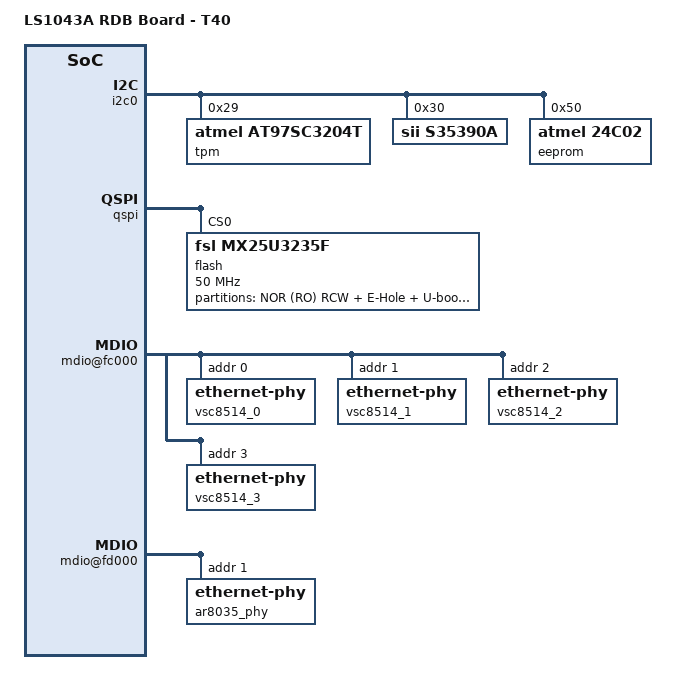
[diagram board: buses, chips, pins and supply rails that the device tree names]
#include "fsl-ls1043a-rdb-sdk.dts"

/ {
	model = "LS1043A RDB Board - T40";

	firmware {
		/delete-node/ optee;
	};
};

&i2c0 {
	/delete-node/ ina220@40;
	/delete-node/ adt7461a@4c;
	/delete-node/ eeprom@52;
	/delete-node/ eeprom@53;
	/delete-node/ rtc@68;
	/delete-node/ rtc@51;

	tpm@29 {
		compatible = "atmel,at97sc3204t";
		reg = <0x29>;
	};

	s35390a@30 {
		compatible = "sii,s35390a";
		reg = <0x30>;
	};

	eeprom@50 {
		compatible = "atmel,24c02";
		reg = <0x50>;
	};
};

&ifc {
	/delete-node/ nor@0,0;
	/delete-node/ nand@1,0;
};

/*
so far know layouts: Get rid of me later
T40 layout
dev:    size   erasesize  name
mtd0: 00100000 00001000 "rcw"
mtd1: 00100000 00001000 "u-boot"
mtd2: 00100000 00001000 "env"
mtd3: 00100000 00001000 "fman"
T80 layout
dev:    size   erasesize  name
mtd0: 00100000 00001000 "rcw"
mtd1: 00200000 00001000 "u-boot"
mtd2: 00040000 00001000 "env"
mtd3: 00040000 00001000 "reserved"
mtd4: 00040000 00001000 "fman"
mtd5: 00040000 00001000 "ppa"
*/

&qspi {
        bus-num = <0>;
        status = "okay";

        flash@0 {
                compatible = "fsl,mx25u3235f", "jedec,spi-nor";
                #address-cells = <1>;
                #size-cells = <1>;
                spi-max-frequency = <50000000>;
                reg = <0>;
                linux,modalias = "fsl_m25p80";
                modal = "mx25u3235f";
                spi-rx-bus-width = <4>;
                spi-tx-bus-width = <4>;
                mode = <0>;
                /*LSDK-KC-REV1812 p141:
		 * This layout is try of T40, maybe T20.
		  And is trying to to complaint with T80 so that things fit. 
		  These changes warrent location changes of ENV/FMAN/PPA though
		  More u-boot level changes will be needed */
                partition@00000000 {
                         /*2MB: RCW (64K + ~960K hole + u-boot bin */
                         reg = <0x00000000 0x00200000>;
                         label = "NOR (RO) RCW + E-Hole + U-boot Image";
                };
                partition@00200000 {
                         /*64KB: u-boot ENV */
                         reg = <0x00200000 0x00010000>;
                         label = "NOR (RW) U-Boot ENV";
                };
                partition@00210000 {
                         /*64KB: EMPTY-hole TODO:FIXME or leave me (precaution: incase we have to u-boot down */
                         reg = <0x00210000 0x00010000>;
                         label = "NOR (RO) EMPTY Hole 1";
               };
               partition@00220000 {
                         /*128KB: Current fman ucode */
                         reg = <0x00220000 0x00020000>;
                         label = "NOR (RW) FMAN UCODE";
               };
               partition@00240000 {
                         /*256KB: E-hole 2 (make it T80 compatible) storing PPA */
                         reg = <0x00240000 0x00040000>;
                         label = "NOR (RW) E-HOLE 2 or PPA";
               };
               partition@00280000 {
                         /*128KB: WG CFG0 */
                         reg = <0x00280000 0x00020000>;
                         label = "NOR (RW) WG CFG0";
               };
               partition@002A0000 {
                         /*128KB: WG CFG1 */
                         reg = <0x002A0000 0x00020000>;
                         label = "NOR (RW) WG CFG1";
               };
               partition@002C0000 {
                         /*128KB: WG MFG */
                         reg = <0x002C0000 0x00020000>;
                         label = "NOR (RW) WG MFG";
               };
               partition@002E0000 {
                         /*1024KB: E-hole 3 */
                         reg = <0x002E0000 0x00020000>;
                         label = "NOR (RW) E-HOLE 3";
               };
               partition@00300000 {
                         /*128KB: ODM(T40/T20) fman ucode old loc */
                         reg = <0x00300000 0x00020000>;
                         label = "NOR (RW) FMAN UCODE Old";
               };
               partition@00320000 {
                         /*896KB: WG bootOpt Data & reserved (end of Flash) */
                         reg = <0x00320000 0x000E0000>;
                         label = "NOR (RW) WG bootOpt Data & reserved";
               };
        };
};


&fman0 {
	ethernet@e0000 {
		phy-handle = <&vsc8514_0>;
	};

	ethernet@e2000 {
		phy-handle = <&vsc8514_1>;
	};

	ethernet@e4000 {
		phy-handle = <&ar8035_phy>;
	};

        ethernet@e6000 {
		/delete-property/ phy-handle;
	};

	ethernet@e8000 {
		phy-handle = <&vsc8514_2>;
	};

	ethernet@ea000 {
		phy-handle = <&vsc8514_3>;
	};

	ethernet@f0000 {
		/delete-property/ phy-handle;
	};

	mdio@fc000 {
		vsc8514_0: ethernet-phy@1 {
			reg = <0x0>;
		};

		vsc8514_1: ethernet-phy@2 {
			reg = <0x1>;
		};

		vsc8514_2: ethernet-phy@3 {
			reg = <0x2>;
		};

		vsc8514_3: ethernet-phy@4 {
			reg = <0x3>;
		};
	};

	mdio@fd000 {
		ar8035_phy: ethernet-phy@1 {
			reg = <0x1>;
			/delete-property/ compatible;
			/delete-property/ interrupts;
		};
	};
};
